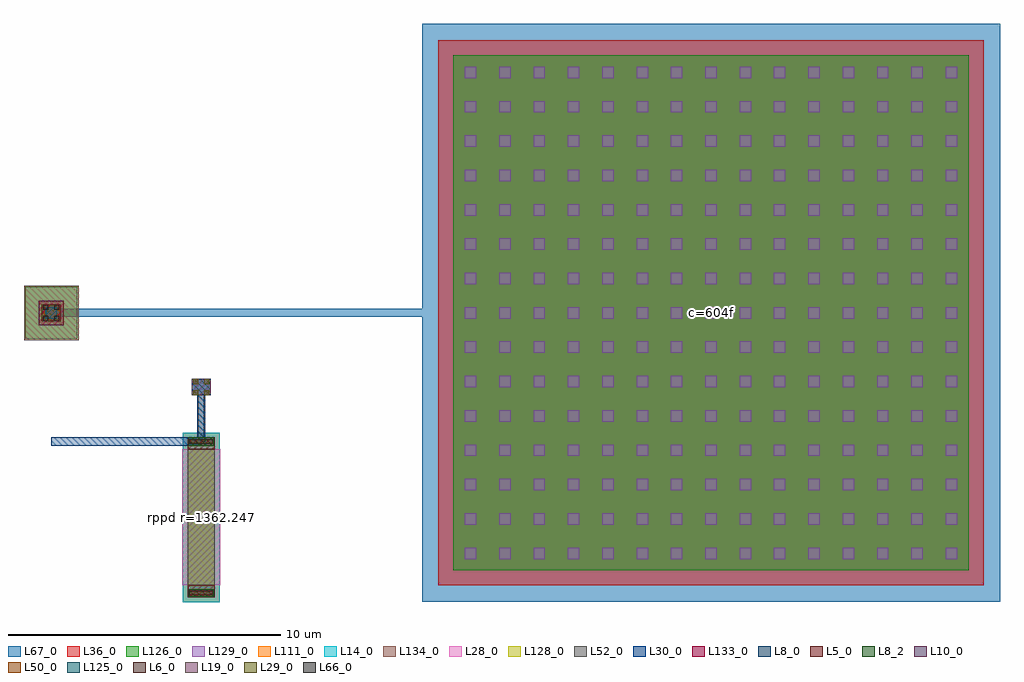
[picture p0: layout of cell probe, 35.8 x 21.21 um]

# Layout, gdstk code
import gdstk
lib = gdstk.Library(unit=1e-6, precision=1e-09)
def R(c, l, rs):  # rectangles x0, y0, x1, y1
    for r in rs: c.add(gdstk.rectangle(r[:2], r[2:], *l))
def A(c, l, x, y, w, h, nx, ny, dx, dy):  # array of equal rectangles
    R(c, l, [(x+i*dx, y+j*dy, x+i*dx+w, y+j*dy+h) for i in range(nx) for j in range(ny)])
L5_0 = (5, 0)
L6_0 = (6, 0)
L8_0 = (8, 0)
L8_2 = (8, 2)
L10_0 = (10, 0)
L14_0 = (14, 0)
L19_0 = (19, 0)
L28_0 = (28, 0)
L29_0 = (29, 0)
L30_0 = (30, 0)
L36_0 = (36, 0)
L50_0 = (50, 0)
L52_0 = (52, 0)
L66_0 = (66, 0)
L67_0 = (67, 0)
L111_0 = (111, 0)
L125_0 = (125, 0)
L126_0 = (126, 0)
L128_0 = (128, 0)
L129_0 = (129, 0)
L133_0 = (133, 0)
L134_0 = (134, 0)

probe = lib.new_cell('probe')
R(probe, L5_0, [(0,-0.43,1,-0.2), (0,-0.2,1,0), (0,5,1,5.2), (0,5.2,1,5.43)])
R(probe, L6_0, [(0.07,-0.36,0.93,-0.2), (0.07,5.2,0.93,5.36)])
R(probe, L8_0, [(0.02,-0.43,0.98,-0.13), (0.02,5.13,0.98,5.43), (0.38,5.16,0.62,7.4), (0.15,6.97,0.85,7.59)])
R(probe, L8_2, [(0.02,-0.43,0.98,-0.13), (0.02,5.13,0.98,5.43)])
R(probe, L10_0, [(0.15,6.975,0.85,7.585)])
R(probe, L14_0, [(-0.18,-0.61,1.18,0), (-0.18,0,1.18,5), (-0.18,5,1.18,5.61)])
R(probe, L19_0, [(0.2,6.98,0.39,7.17), (0.61,6.98,0.8,7.17), (0.2,7.39,0.39,7.58), (0.61,7.39,0.8,7.58)])
R(probe, L28_0, [(-0.2,0,1.2,5)])
R(probe, L29_0, [(0.2,6.98,0.39,7.17), (0.61,6.98,0.8,7.17), (0.2,7.39,0.39,7.58), (0.61,7.39,0.8,7.58)])
R(probe, L30_0, [(-5,5.13,0.5,5.43), (0.35,5.28,0.65,7.28), (0.15,6.975,0.85,7.585)])
R(probe, L36_0, [(9.2,0,29.2,20)])
R(probe, L50_0, [(-5.35,9.695,-4.65,10.305)])
R(probe, L52_0, [(0,0,1,5)])
R(probe, L66_0, [(-5.3,9.7,-5.11,9.89), (-4.89,9.7,-4.7,9.89), (-5.3,10.11,-5.11,10.3), (-4.89,10.11,-4.7,10.3)])
R(probe, L67_0, [(8.6,-0.6,29.8,20.6), (-5.35,9.69,-4.65,10.31), (-5.31,9.69,-4.69,10.31), (-5,9.85,8.6,10.15), (8.45,9.85,10.6,10.15)])
R(probe, L111_0, [(-0.18,-0.61,1.18,0), (-0.2,0,1.2,5), (-0.18,5,1.18,5.61)])
R(probe, L125_0, [(-5.21,9.79,-4.79,10.21), (-5.21,9.79,-4.79,10.21)])
R(probe, L126_0, [(9.75,0.55,28.65,19.45), (-5.95,9.05,-4.05,10.95), (-5.95,9.05,-4.05,10.95)])
R(probe, L128_0, [(0,0,1,5)])
A(probe, L129_0, 10.17, 0.97, 0.42, 0.42, 15, 15, 1.26, 1.26)
R(probe, L133_0, [(-5.45,9.55,-4.55,10.45), (-5.45,9.55,-4.55,10.45)])
R(probe, L134_0, [(-6,9,-4,11), (-6,9,-4,11)])
probe.add(gdstk.Label('rppd r=1362.247', (0.5,2.5), layer=63, texttype=0))
probe.add(gdstk.Label('c=604f', (19.2,10), layer=63, texttype=0))
probe.add(gdstk.Label('cmim', (19.2,10), layer=63, texttype=0))
probe.add(gdstk.Label('rppd', (0.5,2.5), layer=52, texttype=0))

lib.write_gds('probe.gds')
